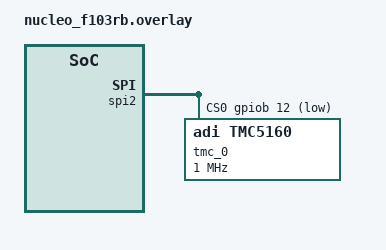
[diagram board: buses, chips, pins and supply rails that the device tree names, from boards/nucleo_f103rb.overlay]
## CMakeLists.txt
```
# Copyright (c) 2022, Stefano Cottafavi <stefano.cottafavi@gmail.com>
#
# SPDX-License-Identifier: Apache-2.0

cmake_minimum_required(VERSION 3.20.0)

# required for apps
find_package(Zephyr REQUIRED HINTS $ENV{ZEPHYR_BASE})

project(tmc_spi)

zephyr_include_directories(src)

target_sources(app PRIVATE
	src/main.c
)
```

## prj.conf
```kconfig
CONFIG_SHELL=y
CONFIG_SHELL_LOG_BACKEND=y

CONFIG_SHELL_BACKEND_SERIAL=y

CONFIG_STDOUT_CONSOLE=y
CONFIG_PRINTK=y

CONFIG_LOG=y
CONFIG_LOG_PRINTK=y
CONFIG_LOG_MODE_IMMEDIATE=y
CONFIG_LOG_BACKEND_UART=y

CONFIG_PWM=y
CONFIG_PWM_LOG_LEVEL_DBG=y

CONFIG_SENSOR=y
CONFIG_SENSOR_LOG_LEVEL_DBG=y

CONFIG_STEPPER=y
CONFIG_STEPPER_SHELL=y
#CONFIG_STEPPER_LOG_LEVEL_DBG=y
```

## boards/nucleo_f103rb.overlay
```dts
/*
 * Copyright (c) 2022, Stefano Cottafavi <stefano.cottafavi@gmail.com>
 *
 * SPDX-License-Identifier: Apache-2.0
 */

/ {
	chosen {
		zephyr,console = &usart2;
		zephyr,shell-uart = &usart2;
	};
	aliases {
		tmc0 = &tmc_0;
		motor0 = &motor_0;
	};
};

&spi2 {
	cs-gpios = <&gpiob 12 (GPIO_ACTIVE_LOW | GPIO_PULL_UP)>;

	tmc_0: tmc5160@0 {
		compatible = "adi,tmc5160";
		status = "okay";
		reg = <0>;

		#address-cells = <1>;
        #size-cells = <0>;

		spi-max-frequency = <DT_FREQ_M(1)>;

		clock-frequency = <DT_FREQ_M(12)>; /* Int/Ext Clock frequency */

		motor_0: motor@0 {
			status = "okay";
			reg = <0>;

			/* common stepper controller settings */
			invert-direction;
			micro-step-res = <1>;

			/* ADI TMC ramp generator as well as current settings */
			vstart = <10>;
			a1 = <20>;
			v1 = <0>;
			d1 = <40>;
			vmax = <100>;
			amax = <60>;
			dmax = <70>;
			tzerowait = <80>;
			vhigh = <90>;
			vcoolthrs = <100>;
			ihold = <1>;
			irun = <16>;
			iholddelay = <3>;
		};
	};
};
```

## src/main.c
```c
/*
 * Copyright (c) 2022, Stefano Cottafavi <stefano.cottafavi@gmail.com>
 *
 * SPDX-License-Identifier: Apache-2.0
 */

#include <zephyr/kernel.h>
#include <zephyr/device.h>
#include <zephyr/drivers/gpio.h>
#include <zephyr/drivers/stepper.h>
#include <zephyr/sys/util.h>

#define SLEEP_TIME_MS   100
#define SPEED_STEP_S  	200

uint8_t toggle, toggle_old;

const struct device *tmc0 = DEVICE_DT_GET( DT_ALIAS(tmc0) );
const struct device *mot0 = DEVICE_DT_GET( DT_ALIAS(motor0) );
struct gpio_dt_spec led = GPIO_DT_SPEC_GET( DT_ALIAS(led0), gpios);

#define SW0_NODE	DT_ALIAS(sw0)
#if !DT_NODE_HAS_STATUS(SW0_NODE, okay)
#error "Unsupported board: sw0 devicetree alias is not defined"
#endif
static const struct gpio_dt_spec button = GPIO_DT_SPEC_GET_OR(SW0_NODE, gpios, {0});
static struct gpio_callback button_cb_data;

// start/stop motor
void button_pressed(const struct device *dev, struct gpio_callback *cb, uint32_t pins) {
	toggle = !toggle;
}

int main(void) {

	int ret;

	// config button
	if (!device_is_ready(button.port)) {
		printk("Error: button device %s is not ready\n",
		       button.port->name);
		return -ENODEV;
	}

	ret = gpio_pin_configure_dt(&button, GPIO_INPUT);
	if (ret != 0) {
		printk("Error %d: failed to configure %s pin %d\n",
		       ret, button.port->name, button.pin);
		return -ENODEV;
	}

	ret = gpio_pin_interrupt_configure_dt(&button, GPIO_INT_EDGE_TO_ACTIVE);
	if (ret != 0) {
		printk("Error %d: failed to configure interrupt on %s pin %d\n",
			ret, button.port->name, button.pin);
		return -ENODEV;
	}

	gpio_init_callback(&button_cb_data, button_pressed, BIT(button.pin));
	gpio_add_callback(button.port, &button_cb_data);
	printk("Set up button at %s pin %d\n", button.port->name, button.pin);



	// check tmc
	if (!device_is_ready(mot0)) {
		printk("TMC device not ready\n");
		return -ENODEV;
	}
	stepper_enable(mot0, true);
	stepper_move(mot0, 200);
	//stepper_enable_constant_velocity_mode(mot0, STEPPER_DIRECTION_POSITIVE, SPEED_STEP_S);


	// config LED
	if( !device_is_ready(led.port) ) {
		return -ENODEV;
	}
	if( gpio_pin_configure_dt(&led, GPIO_OUTPUT_ACTIVE) < 0 ) {
		return -ENODEV;
	}
	gpio_pin_set_dt(&led, 0);


	int8_t count = 0;

	while (1) {

		// set LED
		if( gpio_pin_toggle_dt(&led) < 0 ) {
			return -EIO;
		}

		/*if(toggle!=toggle_old) {

			count++;

			// start/stop motor
			if(count == 2){
				stepper_enable_constant_velocity_mode(mot0, STEPPER_DIRECTION_POSITIVE, SPEED_STEP_S);
			} else if(count == 1) {
				stepper_enable_constant_velocity_mode(mot0, STEPPER_DIRECTION_NEGATIVE, SPEED_STEP_S);
			}

			if(count == 2)
				count=-1;

			//tmc_run(tmc0, 0, count*60, 0);
			// test ustep=1
			stepper_move(mot0, 200);

			toggle_old = toggle;
		}*/

		k_msleep(SLEEP_TIME_MS);
	}

	return 0;
}
```
